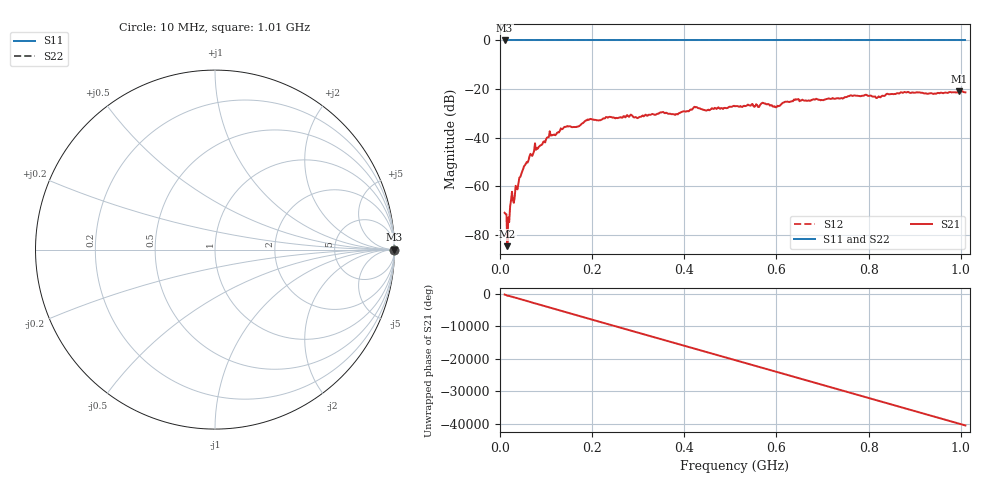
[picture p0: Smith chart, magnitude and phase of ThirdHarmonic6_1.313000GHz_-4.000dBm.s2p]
! 8/16/2025 2:32:05 PM
! C:\ANRITSUVNA\TEMP\TEMP.S2P
! CHANNEL.1
! TR.MEASUREMENT
! RAW.DATA
! RF.CORRECTION.OFF
! AVERAGING.OFF
! IF.BANDWIDTH: 5KHZ
! SWEEPTYPE:  FREQ.SWEEP(Linear)
! Reference Plane Port Info
! PORT:  PORT1  PORT2
! DISTANCE:  0  m  0  m
! TIME:  0  s  0  s
! PHASE.OFFSET:  0  deg.  0  deg.
! LOSS:  0  dB  0  dB
! REF.LOSS:  0  dB  0  dB
! REF.FREQ:  0  Hz  0  Hz
! Power Info
! POWER:  -20  dBm  -20  dBm
! EFF.POWER:  -20  dBm  -20  dBm
! SOURCE.ATTEN:  0  dB  0  dB
! TEST.ATTEN:  0  dB  0  dB
# GHZ S RI R 50.0
! FREQ.GHZ  S11RE  S11IM  S21RE  S21IM  S12RE  S12IM  S22RE  S22IM
!; PortSelection: Port_12
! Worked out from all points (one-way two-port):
!   501 points, 10 MHz to 1.01 GHz, reference 50 ohm
!   highest |S21| = -20.91 dB at 996 MHz (marker M1); lowest = -84.7 dB at 16 MHz (marker M2)
!   lowest |S11| = 0.0 dB at 10 MHz (marker M3)
!   |S11| at or under -10 dB: nowhere
!   |S22| runs from 0.0 to 0.0 dB; largest |S21 - S12| = 1.1
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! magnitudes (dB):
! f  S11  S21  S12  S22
! 10 MHz  0.0  -71.0  0.0  0.0
! 16 MHz  0.0  -84.7  0.0  0.0
! 20 MHz  0.0  -74.8  0.0  0.0
! 22 MHz  0.0  -68.3  0.0  0.0
! 26 MHz  0.0  -62.3  0.0  0.0
! 34 MHz  0.0  -59.9  0.0  0.0
! 46 MHz  0.0  -55.1  0.0  0.0
! 76 MHz  0.0  -42.4  0.0  0.0
! 106 MHz  0.0  -39.8  0.0  0.0
! 142 MHz  0.0  -35.6  0.0  0.0
! 178 MHz  0.0  -34.2  0.0  0.0
! 194 MHz  0.0  -32.5  0.0  0.0
! 344 MHz  0.0  -30.2  0.0  0.0
! 382 MHz  0.0  -30.3  0.0  0.0
! 510 MHz  0.0  -27.1  0.0  0.0
! 572 MHz  0.0  -25.8  0.0  0.0
! 596 MHz  0.0  -27.1  0.0  0.0
! 642 MHz  0.0  -24.2  0.0  0.0
! 678 MHz  0.0  -24.4  0.0  0.0
! 844 MHz  0.0  -22.2  0.0  0.0
! 996 MHz  0.0  -20.9  0.0  0.0
! 1.01 GHz  0.0  -21.4  0.0  0.0
